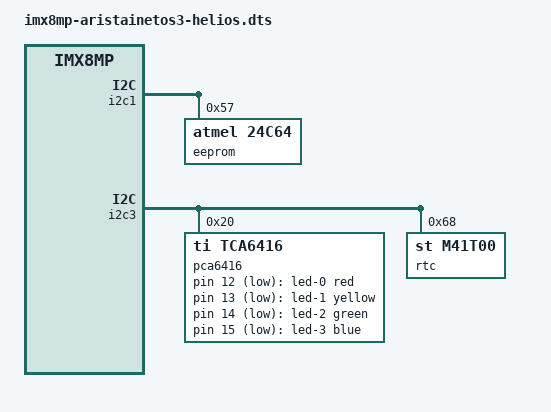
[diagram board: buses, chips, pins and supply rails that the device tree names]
// SPDX-License-Identifier: (GPL-2.0+ OR MIT)
/*
 * Copyright (C) 2024 Heiko Schocher <hs@denx.de>
 */

/dts-v1/;

#include <dt-bindings/leds/common.h>
#include <dt-bindings/gpio/gpio.h>
#include "imx8mp-aristainetos3a-som-v1.dtsi"

&{/} {
	model = "Aristainetos3 helios carrier";
	compatible = "abb,imx8mp-aristanetos3-helios",
		     "abb,imx8mp-aristanetos3-som",
		     "fsl,imx8mp";

	led-controller {
		compatible = "gpio-leds";

		led-0 {
			function = LED_FUNCTION_STATUS;
			color = <LED_COLOR_ID_RED>;
			function-enumerator = <20>;
			gpios = <&pca6416 12 GPIO_ACTIVE_LOW>;
			default-state = "off";
		};

		led-1 {
			function = LED_FUNCTION_STATUS;
			color = <LED_COLOR_ID_YELLOW>;
			function-enumerator = <20>;
			gpios = <&pca6416 13 GPIO_ACTIVE_LOW>;
			default-state = "off";
		};

		led-2 {
			function = LED_FUNCTION_STATUS;
			color = <LED_COLOR_ID_GREEN>;
			function-enumerator = <20>;
			gpios = <&pca6416 14 GPIO_ACTIVE_LOW>;
			default-state = "off";
		};

		led-3 {
			function = LED_FUNCTION_STATUS;
			color = <LED_COLOR_ID_BLUE>;
			function-enumerator = <20>;
			gpios = <&pca6416 15 GPIO_ACTIVE_LOW>;
			default-state = "off";
		};
	};
};

&ethphy1 {
	status = "disabled";
};

&fec {
	status = "disabled";
};

&i2c1 {
	eeprom@57 {
		compatible = "atmel,24c64";
		reg = <0x57>;
	};
};

&i2c3 {
	pca6416: gpio@20 {
		compatible = "ti,tca6416";
		reg = <0x20>;
		gpio-controller;
		#gpio-cells = <2>;
		gpio-line-names = "DIN0_CON",
			"DIN1_CON",
			"DIN2_CON",
			"DIN3_CON",
			"DIN4_CON",
			"DIN5_CON",
			"DIN6_CON",
			"DIN7_CON",
			"PM102_RES",
			"COMx_RES",
			"BPL_RES",
			"PC_RES",
			"LED_RED",
			"LED_YELLOW",
			"LED_GREEN",
			"LED_BLUE";
	};

	rtc@68 {
		compatible = "st,m41t00";
		reg = <0x68>;
	};
};
